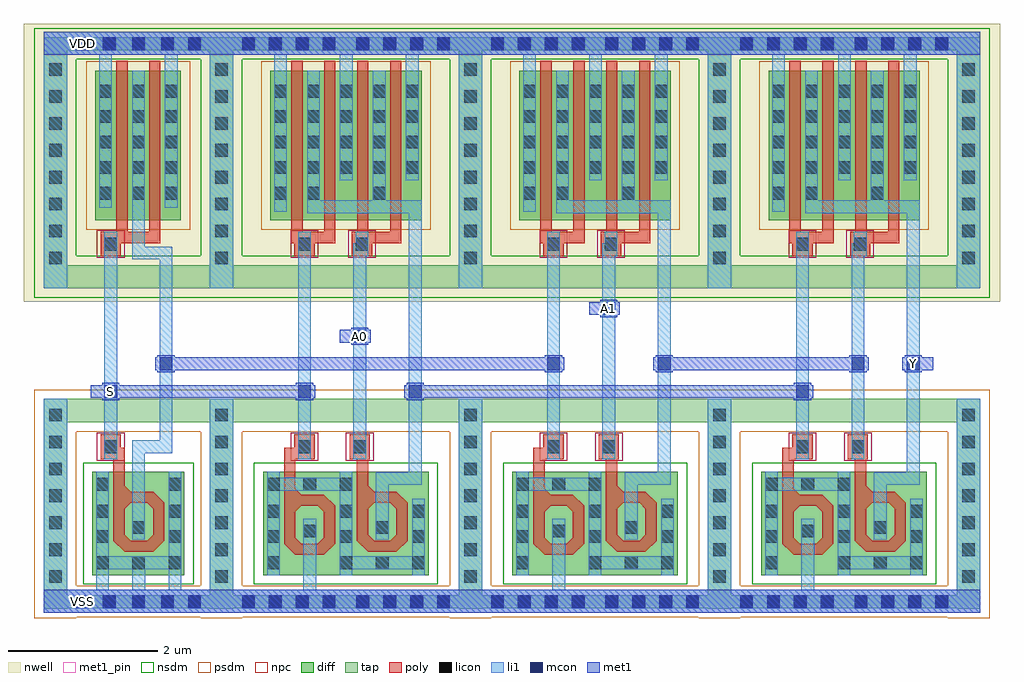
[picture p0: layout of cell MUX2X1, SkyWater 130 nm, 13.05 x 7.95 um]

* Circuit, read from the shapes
.subckt MUX2X1 A0 A1 S VDD VSS Y
XM1 VSS S n1 VSS sky130_fd_pr__nfet_01v8 w=2.56 l=0.1462
XM2 n2 S VSS VSS sky130_fd_pr__nfet_01v8 w=2.6 l=0.1491
XM3 n2 A0 n3 VSS sky130_fd_pr__nfet_01v8 w=2.56 l=0.1465
XM4 n4 n1 VSS VSS sky130_fd_pr__nfet_01v8 w=2.6 l=0.1491
XM5 n4 A1 n5 VSS sky130_fd_pr__nfet_01v8 w=2.56 l=0.1465
XM6 n6 n3 VSS VSS sky130_fd_pr__nfet_01v8 w=2.6 l=0.1491
XM7 n6 n5 Y VSS sky130_fd_pr__nfet_01v8 w=2.56 l=0.1465
XM8 n1 S VDD VDD sky130_fd_pr__pfet_01v8 w=2 l=0.15 m=2
XM9 n3 S VDD VDD sky130_fd_pr__pfet_01v8 w=2 l=0.15 m=2
XM10 n3 A0 VDD VDD sky130_fd_pr__pfet_01v8 w=2 l=0.15 m=2
XM11 n5 n1 VDD VDD sky130_fd_pr__pfet_01v8 w=2 l=0.15 m=2
XM12 n5 A1 VDD VDD sky130_fd_pr__pfet_01v8 w=2 l=0.15 m=2
XM13 Y n3 VDD VDD sky130_fd_pr__pfet_01v8 w=2 l=0.15 m=2
XM14 Y n5 VDD VDD sky130_fd_pr__pfet_01v8 w=2 l=0.15 m=2
.ends

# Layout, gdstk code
import gdstk
lib = gdstk.Library(unit=1e-6, precision=1e-09)
def R(c, l, rs):  # rectangles x0, y0, x1, y1
    for r in rs: c.add(gdstk.rectangle(r[:2], r[2:], *l))
def A(c, l, x, y, w, h, nx, ny, dx, dy):  # array of equal rectangles
    R(c, l, [(x+i*dx, y+j*dy, x+i*dx+w, y+j*dy+h) for i in range(nx) for j in range(ny)])
def P(c, l, *ps):  # polygons
    for p in ps: c.add(gdstk.Polygon(p, *l))
nwell = (64, 20)
diff = (65, 20)
tap = (65, 44)
poly = (66, 20)
licon = (66, 44)
li1 = (67, 20)
mcon = (67, 44)
met1_pin = (68, 16)
met1 = (68, 20)
nsdm = (93, 44)
psdm = (94, 20)
npc = (95, 20)

mux2x1 = lib.new_cell('MUX2X1')
R(mux2x1, nwell, [(-0.42,4.16,12.63,7.875)])
A(mux2x1, diff, 2.78, 0.505, 2.21, 1.38, 3, 1, 3.33, 0)
A(mux2x1, diff, 2.875, 5.25, 2.02, 2, 3, 1, 3.33, 0)
R(mux2x1, diff, [(0.495,0.505,1.725,1.885), (0.535,5.25,1.675,7.25)])
A(mux2x1, tap, 2.065, 0.055, 0.31, 0.01, 4, 1, 3.33, 0)
A(mux2x1, tap, 2.065, 0.235, 0.31, 2.315, 4, 1, 3.33, 0)
A(mux2x1, tap, 2.065, 4.65, 0.31, 2.875, 4, 1, 3.33, 0)
R(mux2x1, tap, [(-0.155,0.055,0.155,0.065), (-0.155,0.065,12.365,0.235), (-0.155,0.235,0.155,2.55), (-0.155,2.55,12.365,2.86), (-0.155,4.34,12.365,4.65), (-0.155,4.65,0.155,7.525), (-0.155,7.525,12.365,7.695)])
A(mux2x1, poly, 3.21, 0.775, 0.38, 0.04, 3, 1, 3.33, 0)
A(mux2x1, poly, 3.17, 0.815, 0.42, 0.11, 3, 1, 3.33, 0)
A(mux2x1, poly, 4.18, 0.815, 0.38, 0.15, 3, 1, 3.33, 0)
A(mux2x1, poly, 3.06, 1.43, 0.53, 0.15, 3, 1, 3.33, 0)
A(mux2x1, poly, 4.03, 1.47, 0.53, 0.15, 3, 1, 3.33, 0)
A(mux2x1, poly, 3.06, 1.58, 0.15, 0.475, 3, 1, 3.33, 0)
A(mux2x1, poly, 4.03, 1.62, 0.15, 0.435, 3, 1, 3.33, 0)
A(mux2x1, poly, 3.06, 2.055, 0.405, 0.15, 3, 1, 3.33, 0)
A(mux2x1, poly, 3.935, 2.055, 0.27, 0.33, 3, 1, 3.33, 0)
A(mux2x1, poly, 3.195, 2.205, 0.27, 0.18, 3, 1, 3.33, 0)
A(mux2x1, poly, 3.155, 4.945, 0.59, 0.15, 3, 1, 3.33, 0)
A(mux2x1, poly, 3.965, 4.945, 0.66, 0.15, 3, 1, 3.33, 0)
A(mux2x1, poly, 3.155, 5.095, 0.15, 2.285, 4, 1, 0.44, 0)
A(mux2x1, poly, 6.485, 5.095, 0.15, 2.285, 4, 1, 0.44, 0)
A(mux2x1, poly, 9.815, 5.095, 0.15, 2.285, 4, 1, 0.44, 0)
R(mux2x1, poly, [(0.925,0.815,1.305,0.965), (3.06,0.925,3.21,1.43), (3.59,0.925,3.74,1.43), (6.39,0.925,6.54,1.43), (6.92,0.925,7.07,1.43), (9.72,0.925,9.87,1.43), (10.25,0.925,10.4,1.43), (0.775,0.965,0.925,1.47), (1.305,0.965,1.455,1.47), (4.03,0.965,4.18,1.47), (4.56,0.965,4.71,1.47), (7.36,0.965,7.51,1.47), (7.89,0.965,8.04,1.47), (10.69,0.965,10.84,1.47), (11.22,0.965,11.37,1.47), (0.775,1.47,1.305,1.62), (0.775,1.62,0.925,2.055), (0.605,2.055,0.925,2.205), (0.605,2.205,0.875,2.385), (0.605,4.765,0.875,4.945), (3.195,4.765,3.465,4.945), (3.965,4.765,4.235,4.945), (6.525,4.765,6.795,4.945), (7.295,4.765,7.565,4.945), (9.855,4.765,10.125,4.945), (10.625,4.765,10.895,4.945), (0.605,4.945,1.405,5.095), (0.815,5.095,0.965,7.38), (1.255,5.095,1.405,7.38)])
P(mux2x1, poly, [(0.925,1.7),(0.925,1.62),(1.005,1.62)],
  [(1.305,1.62),(1.305,1.47),(1.455,1.47)],
  [(0.925,1.39),(0.925,1.47),(1.005,1.47)],
  [(1.225,1.47),(1.305,1.47),(1.305,1.39)],
  [(0.925,1.045),(0.925,0.965),(1.005,0.965)],
  [(1.225,0.965),(1.305,0.965),(1.305,1.045)],
  [(0.775,0.965),(0.925,0.965),(0.925,0.815)],
  [(1.305,0.815),(1.305,0.965),(1.455,0.965)],
  [(3.21,1.66),(3.21,1.58),(3.29,1.58)],
  [(4.18,1.7),(4.18,1.62),(4.26,1.62)],
  [(3.59,1.58),(3.59,1.43),(3.74,1.43)],
  [(3.21,1.35),(3.21,1.43),(3.29,1.43)],
  [(3.51,1.43),(3.59,1.43),(3.59,1.35)],
  [(3.21,1.005),(3.21,0.925),(3.29,0.925)],
  [(3.51,0.925),(3.59,0.925),(3.59,1.005)],
  [(3.06,0.925),(3.17,0.925),(3.17,0.815)],
  [(3.17,0.815),(3.21,0.815),(3.21,0.775)],
  [(3.59,0.775),(3.59,0.925),(3.74,0.925)],
  [(4.56,1.62),(4.56,1.47),(4.71,1.47)],
  [(4.18,1.39),(4.18,1.47),(4.26,1.47)],
  [(4.48,1.47),(4.56,1.47),(4.56,1.39)],
  [(4.18,1.045),(4.18,0.965),(4.26,0.965)],
  [(4.48,0.965),(4.56,0.965),(4.56,1.045)],
  [(4.03,0.965),(4.18,0.965),(4.18,0.815)],
  [(4.56,0.815),(4.56,0.965),(4.71,0.965)],
  [(6.54,1.66),(6.54,1.58),(6.62,1.58)],
  [(7.51,1.7),(7.51,1.62),(7.59,1.62)],
  [(6.92,1.58),(6.92,1.43),(7.07,1.43)],
  [(6.54,1.35),(6.54,1.43),(6.62,1.43)],
  [(6.84,1.43),(6.92,1.43),(6.92,1.35)],
  [(6.54,1.005),(6.54,0.925),(6.62,0.925)],
  [(6.84,0.925),(6.92,0.925),(6.92,1.005)],
  [(6.39,0.925),(6.5,0.925),(6.5,0.815)],
  [(6.5,0.815),(6.54,0.815),(6.54,0.775)],
  [(6.92,0.775),(6.92,0.925),(7.07,0.925)],
  [(7.89,1.62),(7.89,1.47),(8.04,1.47)],
  [(7.51,1.39),(7.51,1.47),(7.59,1.47)],
  [(7.81,1.47),(7.89,1.47),(7.89,1.39)],
  [(7.51,1.045),(7.51,0.965),(7.59,0.965)],
  [(7.81,0.965),(7.89,0.965),(7.89,1.045)],
  [(7.36,0.965),(7.51,0.965),(7.51,0.815)],
  [(7.89,0.815),(7.89,0.965),(8.04,0.965)],
  [(9.87,1.66),(9.87,1.58),(9.95,1.58)],
  [(10.84,1.7),(10.84,1.62),(10.92,1.62)],
  [(10.25,1.58),(10.25,1.43),(10.4,1.43)],
  [(9.87,1.35),(9.87,1.43),(9.95,1.43)],
  [(10.17,1.43),(10.25,1.43),(10.25,1.35)],
  [(9.87,1.005),(9.87,0.925),(9.95,0.925)],
  [(10.17,0.925),(10.25,0.925),(10.25,1.005)],
  [(9.72,0.925),(9.83,0.925),(9.83,0.815)],
  [(9.83,0.815),(9.87,0.815),(9.87,0.775)],
  [(10.25,0.775),(10.25,0.925),(10.4,0.925)],
  [(11.22,1.62),(11.22,1.47),(11.37,1.47)],
  [(10.84,1.39),(10.84,1.47),(10.92,1.47)],
  [(11.14,1.47),(11.22,1.47),(11.22,1.39)],
  [(10.84,1.045),(10.84,0.965),(10.92,0.965)],
  [(11.14,0.965),(11.22,0.965),(11.22,1.045)],
  [(10.69,0.965),(10.84,0.965),(10.84,0.815)],
  [(11.22,0.815),(11.22,0.965),(11.37,0.965)])
A(mux2x1, licon, 0.635, 0.065, 0.17, 0.17, 3, 2, 0.39, 7.46)
A(mux2x1, licon, 2.495, 0.065, 0.17, 0.17, 4, 2, 0.36, 7.46)
A(mux2x1, licon, 4.025, 0.065, 0.17, 0.17, 4, 2, 0.36, 7.46)
A(mux2x1, licon, 5.825, 0.065, 0.17, 0.17, 4, 2, 0.36, 7.46)
A(mux2x1, licon, 7.355, 0.065, 0.17, 0.17, 4, 2, 0.36, 7.46)
A(mux2x1, licon, 9.155, 0.065, 0.17, 0.17, 4, 2, 0.36, 7.46)
A(mux2x1, licon, 10.685, 0.065, 0.17, 0.17, 4, 2, 0.36, 7.46)
A(mux2x1, licon, -0.085, 0.4, 0.17, 0.17, 1, 7, 0, 0.36)
A(mux2x1, licon, 2.135, 0.4, 0.17, 0.17, 4, 7, 3.33, 0.36)
A(mux2x1, licon, 3.8, 0.585, 0.17, 0.17, 3, 1, 0.485, 0)
A(mux2x1, licon, 7.13, 0.585, 0.17, 0.17, 3, 1, 0.485, 0)
A(mux2x1, licon, 10.46, 0.585, 0.17, 0.17, 3, 1, 0.485, 0)
A(mux2x1, licon, 2.83, 0.935, 0.17, 0.17, 3, 2, 0.97, 0.34)
A(mux2x1, licon, 6.16, 0.935, 0.17, 0.17, 3, 2, 0.97, 0.34)
A(mux2x1, licon, 9.49, 0.935, 0.17, 0.17, 3, 2, 0.97, 0.34)
A(mux2x1, licon, 3.315, 1.01, 0.17, 0.17, 3, 1, 3.33, 0)
A(mux2x1, licon, 4.285, 1.055, 0.17, 0.17, 3, 1, 3.33, 0)
A(mux2x1, licon, 2.83, 1.635, 0.17, 0.17, 3, 1, 0.485, 0)
A(mux2x1, licon, 6.16, 1.635, 0.17, 0.17, 3, 1, 0.485, 0)
A(mux2x1, licon, 9.49, 1.635, 0.17, 0.17, 3, 1, 0.485, 0)
A(mux2x1, licon, -0.085, 4.66, 0.17, 0.17, 1, 8, 0, 0.36)
A(mux2x1, licon, 2.135, 4.66, 0.17, 0.17, 4, 8, 3.33, 0.36)
A(mux2x1, licon, 0.585, 5.525, 0.17, 0.17, 3, 2, 0.44, 0.345)
A(mux2x1, licon, 2.925, 5.87, 0.17, 0.17, 5, 4, 0.44, 0.34)
A(mux2x1, licon, 6.255, 5.87, 0.17, 0.17, 5, 4, 0.44, 0.34)
A(mux2x1, licon, 9.585, 5.87, 0.17, 0.17, 5, 4, 0.44, 0.34)
A(mux2x1, licon, 0.585, 6.21, 0.17, 0.17, 3, 3, 0.44, 0.34)
R(mux2x1, licon, [(0.275,0.065,0.445,0.235), (1.775,0.065,1.945,0.235), (0.545,0.585,0.715,0.755), (1.025,0.585,1.195,0.755), (1.515,0.585,1.685,0.755), (2.83,0.585,3,0.755), (6.16,0.585,6.33,0.755), (9.49,0.585,9.66,0.755), (0.545,0.935,0.715,1.105), (1.515,0.935,1.685,1.105), (1.025,1.055,1.195,1.225), (0.545,1.275,0.715,1.445), (1.515,1.275,1.685,1.445), (0.545,1.635,0.715,1.805), (1.515,1.635,1.685,1.805), (0.655,2.135,0.825,2.305), (3.245,2.135,3.415,2.305), (3.985,2.135,4.155,2.305), (6.575,2.135,6.745,2.305), (7.315,2.135,7.485,2.305), (9.905,2.135,10.075,2.305), (10.645,2.135,10.815,2.305), (0.655,4.845,0.825,5.015), (3.245,4.845,3.415,5.015), (4.015,4.845,4.185,5.015), (6.575,4.845,6.745,5.015), (7.345,4.845,7.515,5.015), (9.905,4.845,10.075,5.015), (10.675,4.845,10.845,5.015), (2.925,5.525,3.095,5.695), (3.365,5.525,3.535,5.695), (4.245,5.525,4.415,5.695), (6.255,5.525,6.425,5.695), (6.695,5.525,6.865,5.695), (7.575,5.525,7.745,5.695), (9.585,5.525,9.755,5.695), (10.025,5.525,10.195,5.695), (10.905,5.525,11.075,5.695), (0.275,7.525,0.445,7.695), (1.775,7.525,1.945,7.695)])
A(mux2x1, li1, 0.545, 0.31, 0.17, 0.275, 3, 1, 0.485, 0)
A(mux2x1, li1, 2.065, 0.31, 0.31, 2.55, 4, 1, 3.33, 0)
A(mux2x1, li1, 3.315, 0.31, 0.17, 0.95, 3, 1, 3.33, 0)
A(mux2x1, li1, 2.83, 0.505, 0.17, 1.13, 3, 1, 3.33, 0)
A(mux2x1, li1, 3.8, 0.585, 1.14, 0.17, 3, 1, 3.33, 0)
A(mux2x1, li1, 3.8, 0.755, 0.17, 0.88, 3, 1, 3.33, 0)
A(mux2x1, li1, 4.77, 0.755, 0.17, 0.77, 3, 1, 3.33, 0)
A(mux2x1, li1, 4.285, 0.975, 0.17, 0.735, 3, 1, 3.33, 0)
A(mux2x1, li1, 2.83, 1.635, 1.14, 0.17, 3, 1, 3.33, 0)
A(mux2x1, li1, 4.285, 1.71, 0.61, 0.17, 3, 1, 3.33, 0)
A(mux2x1, li1, 4.725, 1.88, 0.17, 3.465, 3, 1, 3.33, 0)
A(mux2x1, li1, 3.245, 2.055, 0.17, 3.04, 3, 1, 3.33, 0)
A(mux2x1, li1, 3.985, 2.055, 0.17, 2.71, 3, 1, 3.33, 0)
A(mux2x1, li1, 2.065, 4.34, 0.31, 3.12, 4, 1, 3.33, 0)
A(mux2x1, li1, 3.985, 4.765, 0.2, 0.175, 3, 1, 3.33, 0)
A(mux2x1, li1, 4.015, 4.94, 0.17, 0.155, 3, 1, 3.33, 0)
A(mux2x1, li1, 3.365, 5.345, 1.53, 0.17, 3, 1, 3.33, 0)
A(mux2x1, li1, 2.925, 5.365, 0.17, 2.095, 3, 1, 3.33, 0)
R(mux2x1, li1, [(-0.155,0,12.365,0.31), (-0.155,0.31,0.155,2.86), (3.8,0.505,3.97,0.585), (4.77,0.505,4.94,0.585), (7.13,0.505,7.3,0.585), (8.1,0.505,8.27,0.585), (10.46,0.505,10.63,0.585), (11.43,0.505,11.6,0.585), (0.545,0.585,1.685,0.755), (0.545,0.755,0.715,1.885), (1.515,0.755,1.685,1.885), (1.025,0.975,1.195,2.135), (2.83,1.805,3,1.885), (3.8,1.805,3.97,1.885), (6.16,1.805,6.33,1.885), (7.13,1.805,7.3,1.885), (9.49,1.805,9.66,1.885), (10.46,1.805,10.63,1.885), (0.655,2.055,0.825,5.095), (1.025,2.135,1.565,2.305), (1.395,2.305,1.565,4.725), (-0.155,4.34,0.155,7.46), (1.025,4.725,1.565,4.895), (1.025,4.895,1.195,7.25), (0.585,5.415,0.755,7.46), (1.465,5.415,1.635,7.46), (3.365,5.515,3.535,7.25), (4.245,5.515,4.415,7.25), (6.695,5.515,6.865,7.25), (7.575,5.515,7.745,7.25), (10.025,5.515,10.195,7.25), (10.905,5.515,11.075,7.25), (3.805,5.785,3.975,7.46), (4.685,5.785,4.855,7.46), (7.135,5.785,7.305,7.46), (8.015,5.785,8.185,7.46), (10.465,5.785,10.635,7.46), (11.345,5.785,11.515,7.46), (-0.155,7.46,12.365,7.77)])
A(mux2x1, mcon, 0.635, 0.065, 0.17, 0.17, 3, 2, 0.39, 7.46)
A(mux2x1, mcon, 2.495, 0.065, 0.17, 0.17, 4, 2, 0.36, 7.46)
A(mux2x1, mcon, 4.025, 0.065, 0.17, 0.17, 4, 2, 0.36, 7.46)
A(mux2x1, mcon, 5.825, 0.065, 0.17, 0.17, 4, 2, 0.36, 7.46)
A(mux2x1, mcon, 7.355, 0.065, 0.17, 0.17, 4, 2, 0.36, 7.46)
A(mux2x1, mcon, 9.155, 0.065, 0.17, 0.17, 4, 2, 0.36, 7.46)
A(mux2x1, mcon, 10.685, 0.065, 0.17, 0.17, 4, 2, 0.36, 7.46)
R(mux2x1, mcon, [(0.275,0.065,0.445,0.235), (1.775,0.065,1.945,0.235), (0.655,2.875,0.825,3.045), (3.245,2.875,3.415,3.045), (4.725,2.875,4.895,3.045), (9.905,2.875,10.075,3.045), (1.395,3.245,1.565,3.415), (6.575,3.245,6.745,3.415), (8.055,3.245,8.225,3.415), (10.645,3.245,10.815,3.415), (11.385,3.245,11.555,3.415), (3.985,3.615,4.155,3.785), (7.315,3.985,7.485,4.155), (0.275,7.525,0.445,7.695), (1.775,7.525,1.945,7.695)])
R(mux2x1, met1_pin, [(0.655,2.875,0.825,3.045), (11.385,3.245,11.555,3.415), (3.985,3.615,4.155,3.785), (7.315,3.985,7.485,4.155)])
R(mux2x1, met1, [(-0.155,0,12.365,0.31), (0.625,2.845,0.855,2.875), (3.215,2.845,3.445,2.875), (4.695,2.845,4.925,2.875), (9.875,2.845,10.105,2.875), (0.475,2.875,3.475,3.045), (4.665,2.875,10.135,3.045), (0.625,3.045,0.855,3.075), (3.215,3.045,3.445,3.075), (4.695,3.045,4.925,3.075), (9.875,3.045,10.105,3.075), (1.365,3.215,1.595,3.245), (6.545,3.215,6.775,3.245), (8.025,3.215,8.255,3.245), (10.615,3.215,10.845,3.245), (11.355,3.215,11.585,3.245), (1.335,3.245,6.805,3.415), (7.995,3.245,10.875,3.415), (11.325,3.245,11.735,3.415), (1.365,3.415,1.595,3.445), (6.545,3.415,6.775,3.445), (8.025,3.415,8.255,3.445), (10.615,3.415,10.845,3.445), (11.355,3.415,11.585,3.445), (3.955,3.585,4.185,3.615), (3.805,3.615,4.215,3.785), (3.955,3.785,4.185,3.815), (7.285,3.955,7.515,3.985), (7.135,3.985,7.545,4.155), (7.285,4.155,7.515,4.185), (-0.155,7.46,12.365,7.77)])
A(mux2x1, nsdm, 2.655, 0.38, 2.46, 1.63, 3, 1, 3.33, 0)
A(mux2x1, nsdm, 1.94, 4.775, 0.56, 2.625, 4, 1, 3.33, 0)
R(mux2x1, nsdm, [(0.37,0.38,1.85,2.01), (-0.28,4.215,12.49,4.775), (-0.28,4.775,0.28,7.4), (-0.28,7.4,12.49,7.82)])
A(mux2x1, psdm, 1.94, -0.07, 0.56, 0.01, 4, 1, 3.33, 0)
A(mux2x1, psdm, 1.94, 0.36, 0.56, 2.065, 4, 1, 3.33, 0)
A(mux2x1, psdm, 2.75, 5.125, 2.27, 2.25, 3, 1, 3.33, 0)
R(mux2x1, psdm, [(-0.28,-0.07,0.28,-0.06), (-0.28,-0.06,12.49,0.36), (-0.28,0.36,0.28,2.425), (-0.28,2.425,12.49,2.985), (0.41,5.125,1.8,7.375)])
R(mux2x1, npc, [(0.555,2.035,0.925,2.405), (3.145,2.035,3.515,2.405), (3.885,2.035,4.255,2.405), (6.475,2.035,6.845,2.405), (7.215,2.035,7.585,2.405), (9.805,2.035,10.175,2.405), (10.545,2.035,10.915,2.405), (0.555,4.745,0.925,5.115), (3.145,4.745,3.515,5.115), (3.915,4.745,4.285,5.115), (6.475,4.745,6.845,5.115), (7.245,4.745,7.615,5.115), (9.805,4.745,10.175,5.115), (10.575,4.745,10.945,5.115)])
mux2x1.add(gdstk.Label('Y', (11.47,3.33), layer=68, texttype=16))
mux2x1.add(gdstk.Label('A0', (4.07,3.7), layer=68, texttype=16))
mux2x1.add(gdstk.Label('A1', (7.4,4.07), layer=68, texttype=16))
mux2x1.add(gdstk.Label('S', (0.74,2.96), layer=68, texttype=16))
mux2x1.add(gdstk.Label('VDD', (0.36,7.61), layer=68, texttype=16))
mux2x1.add(gdstk.Label('VSS', (0.36,0.15), layer=68, texttype=16))

lib.write_gds('MUX2X1.gds')
